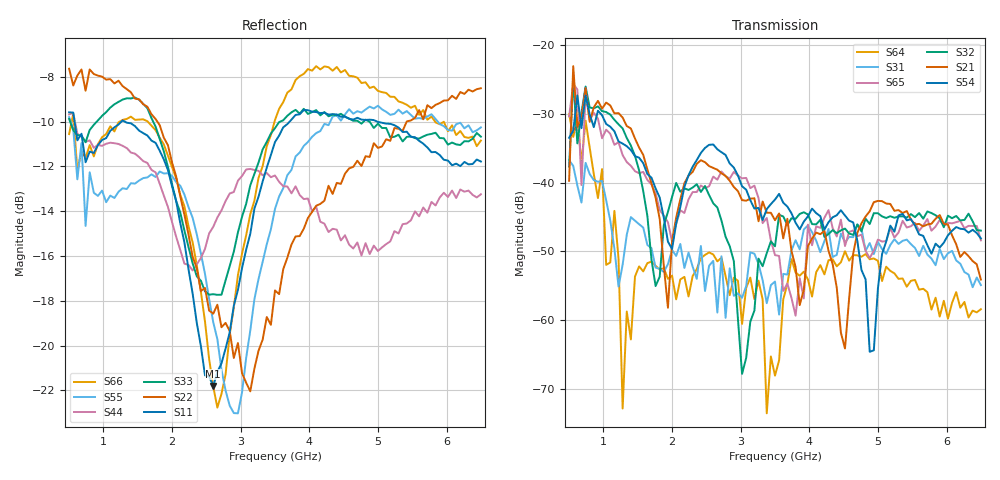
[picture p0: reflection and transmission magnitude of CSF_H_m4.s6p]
!Keysight Technologies,M9804A,MY58100912,A.14.10.03
!Date: Thursday, April 27, 2023 10:28:33
!Correction: S11(C  6-Port  )
!S12(C  6-Port  )
!S13(C  6-Port  )
!S14(C  6-Port  )
!S15(C  6-Port  )
!S16(C  6-Port  )
!S21(C  6-Port  )
!S22(C  6-Port  )
!S23(C  6-Port  )
!S24(C  6-Port  )
!S25(C  6-Port  )
!S26(C  6-Port  )
!S31(C  6-Port  )
!S32(C  6-Port  )
!S33(C  6-Port  )
!S34(C  6-Port  )
!S35(C  6-Port  )
!S36(C  6-Port  )
!S41(C  6-Port  )
!S42(C  6-Port  )
!S43(C  6-Port  )
!S44(C  6-Port  )
!S45(C  6-Port  )
!S46(C  6-Port  )
!S51(C  6-Port  )
!S52(C  6-Port  )
!S53(C  6-Port  )
!S54(C  6-Port  )
!S55(C  6-Port  )
!S56(C  6-Port  )
!S61(C  6-Port  )
!S62(C  6-Port  )
!S63(C  6-Port  )
!S64(C  6-Port  )
!S65(C  6-Port  )
!S66(C  6-Port  )
!S6P File: Measurement: :
# Hz S  RI  R 50
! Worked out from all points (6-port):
!   101 points, 500 MHz to 6.5 GHz, reference 50 ohm
!   strongest paths, dB at 500 MHz, 2 GHz, 3.5 GHz, 5 GHz, 6.5 GHz:
!     S54: -33.5, -49.7, -42.5, -55.4, -48.1
!     S21: -39.7, -48.5, -45.5, -42.7, -54.1
!     S32: -37.7, -42.1, -49.3, -44.5, -47.0
!     S65: -30.3, -48.6, -50.5, -48.3, -48.4
!     S31: -36.7, -49.8, -54.4, -48.7, -54.9
!     S64: -30.0, -53.5, -68.1, -51.4, -58.4
!   lowest |S11| = -21.8 dB at 2.6 GHz (marker M1), VSWR 1.18, Z = 42.7 + j1.92 ohm
!   |S11| at or under -10 dB: 579.4 MHz to 1.263 GHz (683.1 MHz wide, 74.2 % of centre); 1.311 GHz to 3.713 GHz (2.403 GHz wide, 95.6 % of centre); 4.989 GHz to end of sweep
